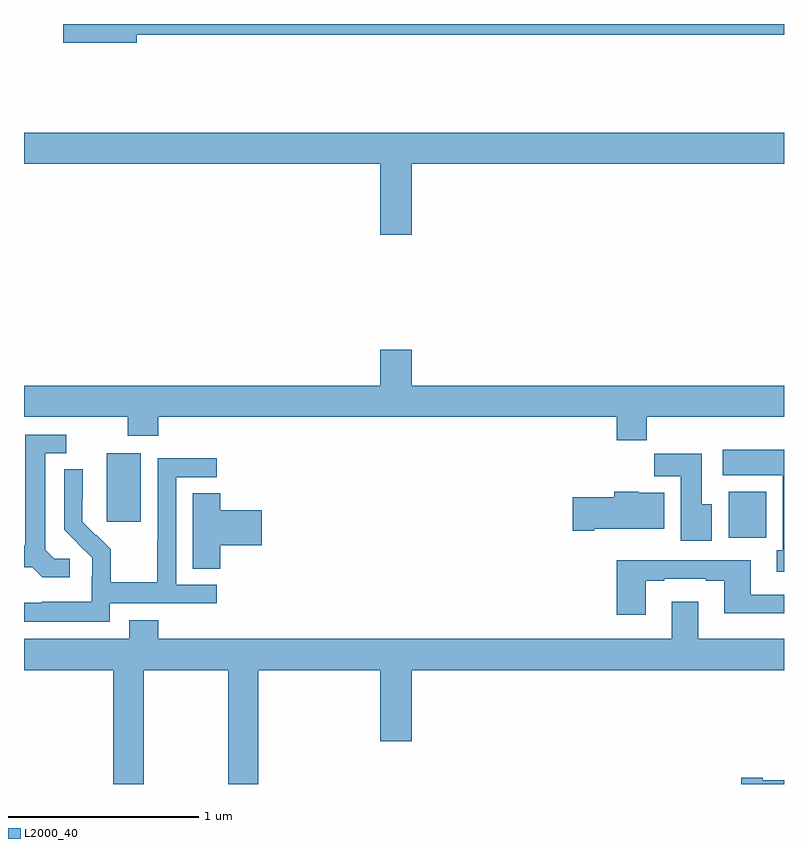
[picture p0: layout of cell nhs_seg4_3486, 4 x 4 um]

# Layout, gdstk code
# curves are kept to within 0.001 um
import gdstk
lib = gdstk.Library(unit=1e-6, precision=1e-09)
def R(c, l, rs):  # rectangles x0, y0, x1, y1
    for r in rs: c.add(gdstk.rectangle(r[:2], r[2:], *l))
def P(c, l, *ps):  # polygons
    for p in ps: c.add(gdstk.Polygon(p, *l))
L2000_40 = (2000, 40)

nhs_seg4_3486 = lib.new_cell('nhs_seg4_3486')
R(nhs_seg4_3486, L2000_40, [(298.709,784.196,298.906,784.438), (295.436,784.281,295.615,784.642)])
P(nhs_seg4_3486, L2000_40, [(295.594,786.844),(299,786.844),(299,786.9),(295.206,786.9),(295.206,786.802),(295.594,786.802)],
  [(297.04,786.164),(299,786.164),(299,786.328),(295,786.328),(295,786.164),(296.876,786.164),(296.876,785.79),(297.04,785.79)],
  [(298.277,784.832),(299,784.832),(299,784.996),(297.04,784.996),(297.04,785.185),(296.876,785.185),(296.876,784.996),(295,784.996),(295,784.832),(295.546,784.832),(295.546,784.733),(295.706,784.733),(295.706,784.832),(298.121,784.832),(298.121,784.708),(298.277,784.708)],
  [(295.24,784.086),(295.158,784.086),(295.111,784.133),(295.111,784.641),(295.222,784.641),(295.222,784.737),(295.007,784.737),(295.007,784.157),(295,784.157),(295,784.041),(295.044,784.041),(295.096,783.989),(295.24,783.989)],
  [(299,784.66),(298.677,784.66),(298.677,784.526),(298.994,784.526),(298.994,784.13),(298.961,784.13),(298.961,784.017),(299,784.017)],
  [(298.621,784.372),(298.567,784.372),(298.567,784.639),(298.318,784.639),(298.318,784.52),(298.457,784.52),(298.457,784.179),(298.621,784.179)],
  [(295.452,783.852),(296.014,783.852),(296.014,783.948),(295.8,783.948),(295.8,784.515),(296.014,784.515),(296.014,784.614),(295.704,784.614),(295.704,784.184),(295.702,784.184),(295.702,783.961),(295.457,783.961),(295.457,784.135),(295.38,784.212),(295.377,784.209),(295.307,784.28),(295.308,784.556),(295.212,784.556),(295.212,784.238),(295.358,784.09),(295.358,783.993),(295.356,783.993),(295.356,783.859),(295.093,783.859),(295.093,783.855),(295,783.855),(295,783.755),(295.452,783.755)],
  [(298,784.244),(298.369,784.244),(298.369,784.432),(298.236,784.432),(298.236,784.438),(298.106,784.438),(298.106,784.41),(297.888,784.41),(297.888,784.232),(298,784.232)],
  [(296.033,784.157),(296.251,784.157),(296.251,784.34),(296.033,784.34),(296.033,784.43),(295.889,784.43),(295.889,784.033),(296.033,784.033)],
  [(298.273,783.969),(298.369,783.969),(298.369,783.981),(298.589,783.981),(298.589,783.969),(298.685,783.969),(298.685,783.8),(299,783.8),(299,783.897),(298.825,783.897),(298.825,784.077),(298.361,784.077),(298.361,784.078),(298.121,784.078),(298.121,783.792),(298.273,783.792)],
  [(295.629,783.5),(296.074,783.5),(296.074,782.9),(296.234,782.9),(296.234,783.5),(296.876,783.5),(296.876,783.126),(297.04,783.126),(297.04,783.5),(299,783.5),(299,783.664),(298.549,783.664),(298.549,783.859),(298.409,783.859),(298.409,783.664),(295.706,783.664),(295.706,783.763),(295.553,783.763),(295.553,783.664),(295,783.664),(295,783.5),(295.469,783.5),(295.469,782.9),(295.629,782.9)],
  [(299,782.92),(298.888,782.92),(298.888,782.933),(298.776,782.933),(298.776,782.9),(299,782.9)])

lib.write_gds('nhs_seg4_3486.gds')
